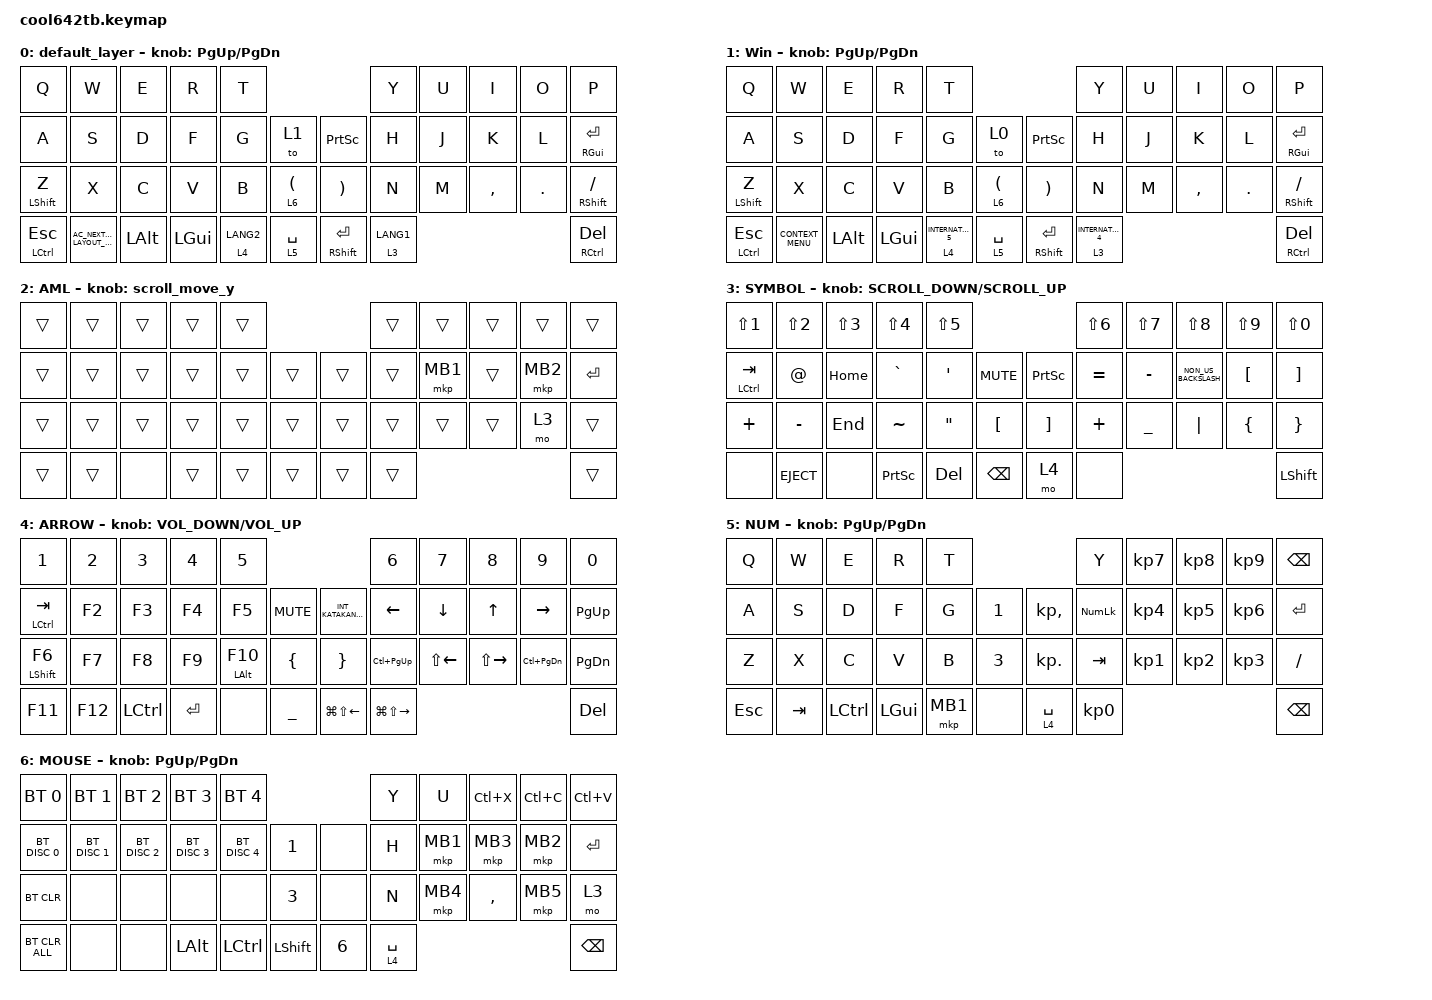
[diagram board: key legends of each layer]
#include <behaviors.dtsi>
#include <dt-bindings/zmk/bt.h>
#include <dt-bindings/zmk/keys.h>
#include <dt-bindings/zmk/pointing.h>

#define ZMK_MOUSE_DEFAULT_SCRL_VAL 100
#define MOUSE 2
#define SCROLL 3
#define NUM 5

&mt {
    flavor = "balanced";
    quick-tap-ms = <0>;
};

/ {
    combos {
        compatible = "zmk,combos";

        comb1 {
            bindings = <&kp TAB>;
            key-positions = <11 10>;
        };

        comb2 {
            bindings = <&kp LS(ESCAPE)>;
            key-positions = <0 1>;
        };

        comb3 {
            bindings = <&kp CAPSLOCK>;
            key-positions = <22 23>;
        };

        comb4 {
            bindings = <&kp BACKSPACE>;
            key-positions = <9 8>;
        };

        comb5 {
            bindings = <&bt BT_CLR_ALL>;
            key-positions = <9 8>;
            timeout-ms = <0>;
            layers = <4>;
        };

        MS_BTN1_ {
            bindings = <&mkp MB1>;
            key-positions = <38 39>;
        };

        MS_BTN2_ {
            bindings = <&mkp MB2>;
            key-positions = <38 37>;
        };
    };

    macros {
        to_layer_0: to_layer_0 {
            compatible = "zmk,behavior-macro-one-param";
            #binding-cells = <1>;
            bindings = <&to 0 &macro_param_1to1 &kp MACRO_PLACEHOLDER>;
            label = "TO_LAYER_0";
        };
    };

    behaviors {
        lt_to_layer_0: lt_to_layer_0 {
            compatible = "zmk,behavior-hold-tap";
            label = "LAYER_TAP_TO_0";
            bindings = <&mo>, <&to_layer_0>;

            #binding-cells = <2>;
            tapping-term-ms = <200>;
        };

        scroll_up_down: behavior_sensor_rotate_mouse_wheel_up_down {
            compatible = "zmk,behavior-sensor-rotate";
            #sensor-binding-cells = <0>;
            bindings = <&msc SCRL_UP>, <&msc SCRL_DOWN>;

            tap-ms = <20>;
        };
    };

    // エンコーダー：キー

    rot_kp: sensor_rotate_kp {
        compatible = "zmk,behavior-sensor-rotate-var";
        #sensor-binding-cells = <2>;
        bindings = <&kp>, <&kp>;
    };

    // エンコーダー：マウススクロール 

    rot_msc: sensor_rotate_msc {
        compatible = "zmk,behavior-sensor-rotate-var";
        #sensor-binding-cells = <2>;
        tap-ms = <20>;
        bindings = <&msc>, <&msc>;
    };

    // エンコーダー：マウススクロール(MOVE_Y)

    scroll_move_y: sensor_rotate_msc_for_move_y {
        compatible = "zmk,behavior-sensor-rotate";
        #sensor-binding-cells = <0>;
        bindings = <&msc MOVE_Y(20)>, <&msc MOVE_Y(-20)>;

        // tap-ms下限メモ Yの値で可変: Y(15) <81>, Y(20) <65>, Y(25) <49>

        tap-ms = <65>;
    };

    // エンコーダー：マウススクロール(MOVE_X)

    scroll_move_x: sensor_rotate_msc_for_move_x {
        compatible = "zmk,behavior-sensor-rotate";
        #sensor-binding-cells = <0>;
        bindings = <&msc MOVE_X(20)>, <&msc MOVE_X(-20)>;

        // tap-ms下限メモ Xの値で可変: X(15) <81>, X(20) <65>, X(25) <49>

        tap-ms = <65>;
    };

    keymap {
        compatible = "zmk,keymap";

        default_layer {
            bindings = <
&kp Q                    &kp W                                 &kp E         &kp R         &kp T                                                       &kp Y        &kp U  &kp I      &kp O       &kp P
&kp A                    &kp S                                 &kp D         &kp F         &kp G        &to 1                   &kp PRINTSCREEN        &kp H        &kp J  &kp K      &kp L       &mt RIGHT_GUI RETURN
&mt LEFT_SHIFT Z         &kp X                                 &kp C         &kp V         &kp B        &lt 6 LEFT_PARENTHESIS  &kp RIGHT_PARENTHESIS  &kp N        &kp M  &kp COMMA  &kp PERIOD  &mt RIGHT_SHIFT SLASH
&mt LEFT_CONTROL ESCAPE  &kp C_AC_NEXT_KEYBOARD_LAYOUT_SELECT  &kp LEFT_ALT  &kp LEFT_GUI  &lt 4 LANG2  &lt 5 SPACE             &mt RIGHT_SHIFT ENTER  &lt 3 LANG1                                &mt RIGHT_CONTROL DELETE
            >;

            sensor-bindings = <&inc_dec_kp PAGE_UP PAGE_DOWN>;
        };

        Win {
            bindings = <
&kp Q                    &kp W               &kp E         &kp R         &kp T                                                                 &kp Y                  &kp U  &kp I      &kp O       &kp P
&kp A                    &kp S               &kp D         &kp F         &kp G                  &to 0                   &kp PRINTSCREEN        &kp H                  &kp J  &kp K      &kp L       &mt RIGHT_GUI ENTER
&mt LEFT_SHIFT Z         &kp X               &kp C         &kp V         &kp B                  &lt 6 LEFT_PARENTHESIS  &kp RIGHT_PARENTHESIS  &kp N                  &kp M  &kp COMMA  &kp PERIOD  &mt RIGHT_SHIFT SLASH
&mt LEFT_CONTROL ESCAPE  &kp K_CONTEXT_MENU  &kp LEFT_ALT  &kp LEFT_GUI  &lt 4 INTERNATIONAL_5  &lt 5 SPACE             &mt RIGHT_SHIFT ENTER  &lt 3 INTERNATIONAL_4                                &mt RIGHT_CONTROL DEL
            >;

            sensor-bindings = <&inc_dec_kp PG_UP PAGE_DOWN>;
        };

        AML {
            bindings = <
&trans  &trans  &trans  &trans  &trans                  &trans  &trans    &trans  &trans    &trans
&trans  &trans  &trans  &trans  &trans  &trans  &trans  &trans  &mkp MB1  &trans  &mkp MB2  &kp ENTER
&trans  &trans  &trans  &trans  &trans  &trans  &trans  &trans  &trans    &trans  &mo 3     &trans
&trans  &trans  &none   &trans  &trans  &trans  &trans  &trans                              &trans
            >;

            sensor-bindings = <&scroll_move_y>;
        };

        SYMBOL {
            bindings = <
&kp LS(N1)            &kp LS(N2)   &kp LS(N3)  &kp LS(N4)       &kp LS(N5)                                              &kp LS(N6)  &kp LS(N7)      &kp LS(N8)            &kp LS(N9)        &kp LS(N0)
&mt LEFT_CONTROL TAB  &kp AT_SIGN  &kp HOME    &kp GRAVE        &kp SQT            &kp K_MUTE        &kp PRINTSCREEN    &kp EQUAL   &kp MINUS       &kp NON_US_BACKSLASH  &kp LEFT_BRACKET  &kp RIGHT_BRACKET
&kp PLUS              &kp MINUS    &kp END     &kp TILDE        &kp DOUBLE_QUOTES  &kp LEFT_BRACKET  &kp RIGHT_BRACKET  &kp PLUS    &kp UNDERSCORE  &kp PIPE              &kp LEFT_BRACE    &kp RIGHT_BRACE
&none                 &kp K_EJECT  &none       &kp PRINTSCREEN  &kp DEL            &kp BACKSPACE     &mo 4              &none                                                               &kp LEFT_SHIFT
            >;

            sensor-bindings = <&inc_dec_kp K_SCROLL_DOWN K_SCROLL_UP>;
        };

        ARROW {
            bindings = <
&kp NUMBER_1          &kp NUMBER_2  &kp NUMBER_3      &kp NUMBER_4  &kp N5                                                      &kp NUMBER_6       &kp N7          &kp N8         &kp N9             &kp N0
&mt LEFT_CONTROL TAB  &kp F2        &kp F3            &kp F4        &kp F5            &kp K_MUTE      &kp INT_KATAKANAHIRAGANA  &kp LEFT           &kp DOWN_ARROW  &kp UP_ARROW   &kp RIGHT          &kp PAGE_UP
&mt LEFT_SHIFT F6     &kp F7        &kp F8            &kp F9        &mt LEFT_ALT F10  &kp LEFT_BRACE  &kp RIGHT_BRACE           &kp LC(PAGE_UP)    &kp LS(LEFT)    &kp LS(RIGHT)  &kp LC(PAGE_DOWN)  &kp PAGE_DOWN
&kp F11               &kp F12       &kp LEFT_CONTROL  &kp ENTER     &none             &kp UNDERSCORE  &kp LG(LS(LEFT))          &kp LG(LS(RIGHT))                                                    &kp DELETE
            >;

            sensor-bindings = <&inc_dec_kp K_VOLUME_DOWN K_VOLUME_UP>;
        };

        NUM {
            bindings = <
&kp Q       &kp W    &kp E             &kp R         &kp T                           &kp Y            &kp KP_NUMBER_7  &kp KP_NUMBER_8  &kp KP_NUMBER_9  &kp BACKSPACE
&kp A       &kp S    &kp D             &kp F         &kp G     &kp N1  &kp KP_COMMA  &kp KP_NUMLOCK   &kp KP_NUMBER_4  &kp KP_NUMBER_5  &kp KP_NUMBER_6  &kp ENTER
&kp Z       &kp X    &kp C             &kp V         &kp B     &kp N3  &kp KP_DOT    &kp TAB          &kp KP_NUMBER_1  &kp KP_NUMBER_2  &kp KP_NUMBER_3  &kp SLASH
&kp ESCAPE  &kp TAB  &kp LEFT_CONTROL  &kp LEFT_GUI  &mkp MB1  &none   &lt 4 SPACE   &kp KP_NUMBER_0                                                     &kp BACKSPACE
            >;

            sensor-bindings = <&inc_dec_kp PG_UP PAGE_DOWN>;
        };

        MOUSE {
            bindings = <
&bt BT_SEL 0    &bt BT_SEL 1   &bt BT_SEL 2   &bt BT_SEL 3   &bt BT_SEL 4                              &kp Y        &kp U     &kp LC(X)  &kp LC(C)  &kp LC(V)
&bt BT_DISC 0   &bt BT_DISC 1  &bt BT_DISC 2  &bt BT_DISC 3  &bt BT_DISC 4     &kp N1          &none   &kp H        &mkp MB1  &mkp MB3   &mkp MB2   &kp ENTER
&bt BT_CLR      &none          &none          &none          &none             &kp N3          &none   &kp N        &mkp MB4  &kp COMMA  &mkp MB5   &mo 3
&bt BT_CLR_ALL  &none          &none          &kp LALT       &kp LEFT_CONTROL  &kp LEFT_SHIFT  &kp N6  &lt 4 SPACE                                  &kp BSPC
            >;

            sensor-bindings = <&inc_dec_kp PG_UP PAGE_DOWN>;
        };
    };
};
